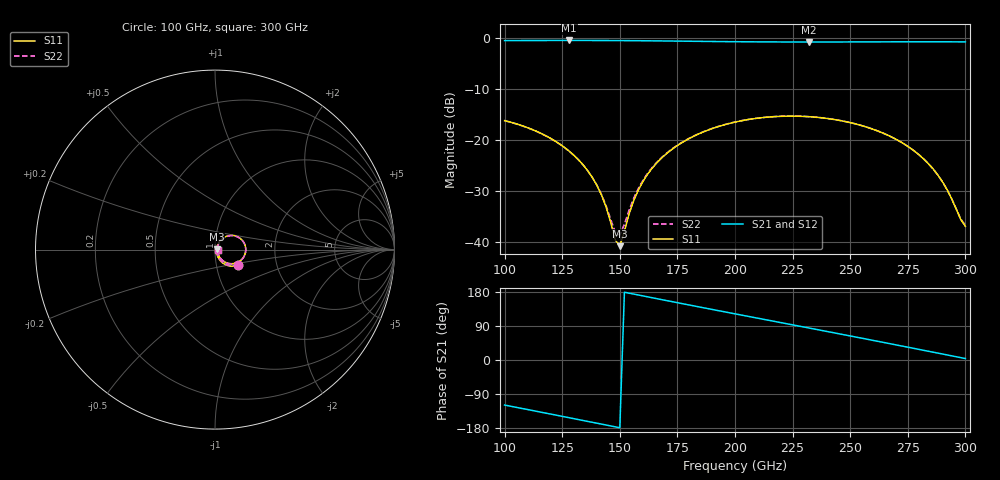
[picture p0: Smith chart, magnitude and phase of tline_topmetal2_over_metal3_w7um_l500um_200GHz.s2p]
#  GHZ S DB R 50
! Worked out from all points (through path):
!   101 points, 100 GHz to 300 GHz, reference 50 ohm
!   highest |S21| = -0.46 dB at 128 GHz (marker M1); lowest = -0.8 dB at 232 GHz (marker M2)
!   group delay of S21, straight-line fit = 3.28 ps
!   lowest |S11| = -40.9 dB at 150 GHz (marker M3), VSWR 1.02, Z = 50.9 + j0.119 ohm
!   |S11| at or under -10 dB: start of sweep to end of sweep
!   |S22| runs from -38.7 to -15.3 dB; largest |S21 - S12| = 1.1e-14
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100  -16.20 -33.9  -0.48 -118.9  -0.48 -118.9  -16.22 -33.3
116  -18.75 -50.7  -0.47 -137.9  -0.47 -137.9  -18.78 -49.7
128  -22.19 -62.2  -0.46 -152.3  -0.46 -152.3  -22.21 -60.6
134  -24.86 -66.7  -0.46 -159.5  -0.46 -159.5  -24.88 -64.3
142  -30.76 -67.0  -0.47 -169.2  -0.47 -169.2  -30.66 -62.1
144  -33.11 -63.4  -0.47 -171.6  -0.47 -171.6  -32.86 -57.3
148  -39.60 -33.7  -0.48 -176.4  -0.48 -176.4  -38.12 -25.7
150  -40.87 7.4  -0.49 -178.8  -0.49 -178.8  -38.73 7.5
154  -34.60 53.1  -0.50 176.4  -0.50 176.4  -33.83 47.6
158  -29.89 60.9  -0.51 171.6  -0.51 171.6  -29.56 57.0
168  -23.62 58.0  -0.55 159.6  -0.55 159.6  -23.51 55.9
182  -19.29 45.4  -0.62 142.9  -0.62 142.9  -19.24 44.2
200  -16.50 26.6  -0.70 121.8  -0.70 121.8  -16.47 25.8
216  -15.46 9.2  -0.75 103.2  -0.75 103.2  -15.44 8.6
232  -15.43 -8.3  -0.76 84.6  -0.76 84.6  -15.42 -8.7
234  -15.50 -10.4  -0.76 82.2  -0.76 82.2  -15.49 -10.9
250  -16.60 -27.6  -0.75 63.5  -0.75 63.5  -16.59 -27.9
268  -19.43 -45.8  -0.73 42.2  -0.73 42.2  -19.43 -46.0
278  -22.23 -54.3  -0.72 30.2  -0.72 30.2  -22.24 -54.4
286  -25.70 -58.2  -0.72 20.6  -0.72 20.6  -25.71 -58.1
292  -29.73 -55.3  -0.73 13.4  -0.73 13.4  -29.72 -54.8
300  -36.97 -6.6  -0.74 3.8  -0.74 3.8  -36.75 -6.0
